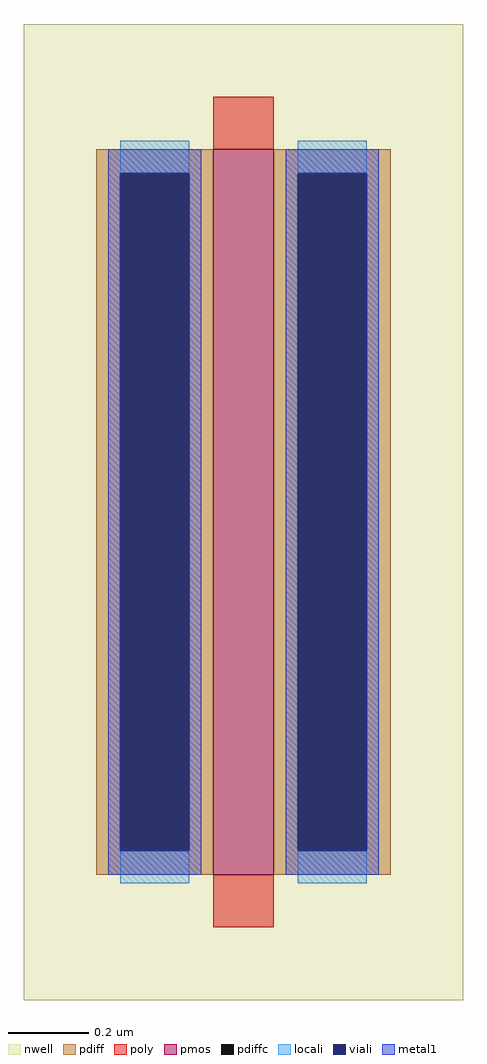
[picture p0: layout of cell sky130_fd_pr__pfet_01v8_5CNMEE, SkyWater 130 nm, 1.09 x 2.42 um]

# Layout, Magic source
magic
tech sky130A
magscale 1 2
<< nwell >>
rect -109 -242 109 242
<< pmos >>
rect -15 -180 15 180
<< pdiff >>
rect -73 168 -15 180
rect -73 -168 -61 168
rect -27 -168 -15 168
rect -73 -180 -15 -168
rect 15 168 73 180
rect 15 -168 27 168
rect 61 -168 73 168
rect 15 -180 73 -168
<< pdiffc >>
rect -61 -168 -27 168
rect 27 -168 61 168
<< poly >>
rect -15 180 15 206
rect -15 -206 15 -180
<< locali >>
rect -61 168 -27 184
rect -61 -184 -27 -168
rect 27 168 61 184
rect 27 -184 61 -168
<< viali >>
rect -61 -168 -27 168
rect 27 -168 61 168
<< metal1 >>
rect -67 168 -21 180
rect -67 -168 -61 168
rect -27 -168 -21 168
rect -67 -180 -21 -168
rect 21 168 67 180
rect 21 -168 27 168
rect 61 -168 67 168
rect 21 -180 67 -168
<< properties >>
string gencell sky130_fd_pr__pfet_01v8
string parameters w 1.8 l 0.15 m 1 nf 1 diffcov 100 polycov 100 guard 0 glc 0 grc 0 gtc 0 gbc 0 tbcov 100 rlcov 100 topc 0 botc 0 poverlap 0 doverlap 1 lmin 0.15 wmin 0.42 compatible {sky130_fd_pr__pfet_01v8  sky130_fd_pr__pfet_01v8_lvt sky130_fd_pr__pfet_01v8_hvt  sky130_fd_pr__pfet_g5v0d10v5} full_metal 0 viasrc 100 viadrn 100 viagate 100 viagb 0 viagr 0 viagl 0 viagt 0
string library sky130
<< end >>
